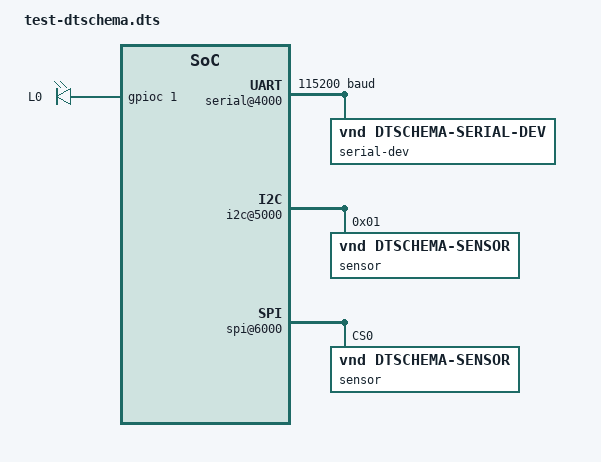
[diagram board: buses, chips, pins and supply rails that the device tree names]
/*
 * Copyright (c) 2026 Qualcomm Innovation Center, Inc.
 * SPDX-License-Identifier: BSD-3-Clause
 *
 * Devicetree used by test_dtschema_bindings.py, together with the
 * dt-schema documents in test-dtschema/ and the classic bindings in
 * test-dtschema-classic-bindings/.
 */

/dts-v1/;

/ {
	#address-cells = <1>;
	#size-cells = <1>;

	intc: interrupt-controller@1000 {
		compatible = "vnd,dtschema-intc";
		reg = <0x1000 0x100>;
		interrupt-controller;
		#interrupt-cells = <2>;
	};

	gpioc: gpio@2000 {
		compatible = "vnd,dtschema-gpio";
		reg = <0x2000 0x100>;
		gpio-controller;
		#gpio-cells = <2>;
	};

	device@3000 {
		compatible = "vnd,dtschema-device";
		reg = <0x3000 0x10>;
		interrupt-parent = <&intc>;
		interrupts = <5 1>;
		an-int = <7>;
		an-array = <1 2 3>;
		bytes = [01 02];
		a-string = "alpha";
		strings = "a", "b";
		a-phandle = <&gpioc>;
		some-phandles = <&gpioc &intc>;
		det-gpios = <&gpioc 4 1>;
		a-bool;
		delay-us = <100>;
	};

	serial@4000 {
		compatible = "vnd,dtschema-serial-ctrl";
		reg = <0x4000 0x100>;
		current-speed = <115200>;
		fifo-depth = <16>;

		serial-dev {
			compatible = "vnd,dtschema-serial-dev";
		};
	};

	leds {
		compatible = "vnd,dtschema-leds";

		led_0 {
			gpios = <&gpioc 1 0>;
			label = "L0";
		};
	};

	/*
	 * Multi-bus pattern: the same compatible (vnd,dtschema-sensor)
	 * appears on two different buses and must resolve to the matching
	 * per-bus document, selected by the parent controller's bus.
	 */
	i2c@5000 {
		compatible = "vnd,dtschema-i2c-ctrl";
		reg = <0x5000 0x100>;
		#address-cells = <1>;
		#size-cells = <0>;

		sensor@1 {
			compatible = "vnd,dtschema-sensor";
			reg = <1>;
			sample-count = <100>;
			i2c-extra;
		};
	};

	spi@6000 {
		compatible = "vnd,dtschema-spi-ctrl";
		reg = <0x6000 0x100>;
		#address-cells = <1>;
		#size-cells = <0>;

		sensor@0 {
			compatible = "vnd,dtschema-sensor";
			reg = <0>;
			sample-count = <200>;
			spi-extra = <7>;
		};
	};

	classic-device {
		compatible = "vnd,dtschema-classic-only";
		classic-prop = <3>;
	};
};
